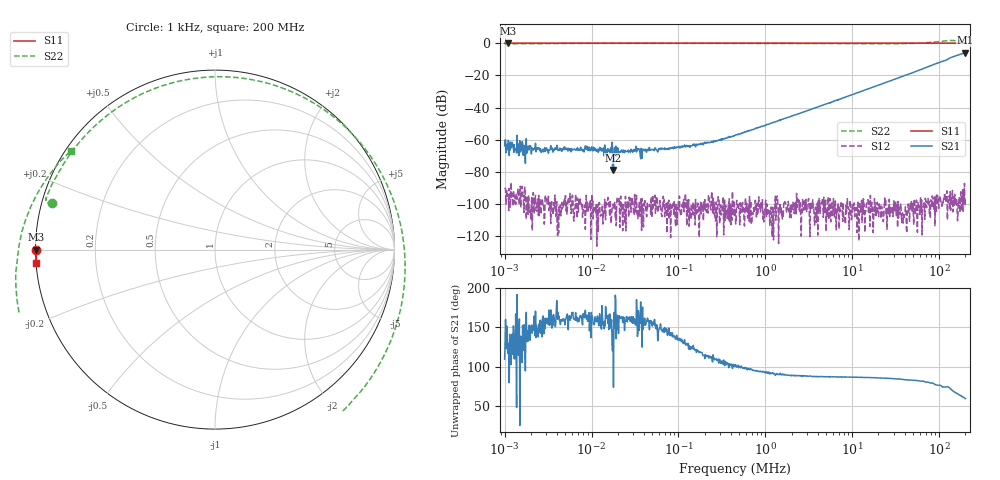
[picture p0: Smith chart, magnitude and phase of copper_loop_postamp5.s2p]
! ListType=Log
# MHZ S RI R 50
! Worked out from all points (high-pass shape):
!   1000 points, 1 kHz to 200 MHz, reference 50 ohm
!   highest |S21| = -5.89 dB at 200 MHz (marker M1); lowest = -78.7 dB at 17.88 kHz (marker M2)
!   |S21| within 3 dB of the highest: 137.1 MHz to end of sweep
!   lowest |S11| = 0.0 dB at 1.089 kHz (marker M3), VSWR 406.38, Z = 0.123 + j0.00596 ohm
!   |S11| at or under -10 dB: nowhere
!   |S22| runs from -0.5 to 1.7 dB; largest |S21 - S12| = 0.51
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0.001  -0.9962 -0.000673  -0.00022 0.000611  -1.15e-05 -2.99e-05  -0.9089 0.26
0.0010893  -0.9951 0.000237  -0.000249 0.000492  1.98e-05 -3.7e-06  -0.9111 0.2599
0.0017329  -0.9966 -0.0001  -1.61e-05 0.000186  -3.1e-06 1.34e-05  -0.9221 0.2574
0.0018648  -0.9967 -0.000702  -0.000449 0.000443  -2.8e-06 4e-06  -0.9239 0.2575
0.0076941  -0.9969 -1.61e-05  -0.00046 0.00015  -2.1e-06 8.4e-06  -0.9422 0.2759
0.0162123  -0.9967 -7.29e-05  -0.000441 0.000117  -4.1e-06 -5e-07  -0.9425 0.2823
0.017877  -0.9969 0.000139  3.17e-05 0.000111  -5.6e-06 4.2e-06  -0.9424 0.2829
0.0584804  -0.9969 -2.74e-05  -0.000367 0.00028  1.1e-06 -7.5e-06  -0.9406 0.2882
0.4499541  -0.9968 -0.000242  -0.000274 0.00136  1.8e-06 7.1e-06  -0.9349 0.303
3.419952  -0.9971 -0.0013  0.000332 0.009  -1.8e-06 -7.2e-06  -0.8867 0.4028
12.03851  -0.9975 -0.0046  0.00173 0.0302  -7.5e-06 -3e-07  -0.7122 0.6466
26.31347  -0.9979 -0.00955  0.00517 0.0648  3.6e-06 -3.5e-06  -0.3118 0.9064
38.43037  -0.9981 -0.0138  0.00992 0.0943  1.2e-06 -2.3e-06  0.0882 0.9611
50.9003  -0.9982 -0.0178  0.0153 0.1233  -1e-07 -2.3e-06  0.4925 0.8486
64.99008  -0.9979 -0.0227  0.0225 0.1584  6e-06 -3.9e-06  0.8567 0.5339
81.97236  -0.998 -0.0286  0.0368 0.2  5.3e-06 -7.1e-06  1.057 -0.0223
103.3922  -0.9977 -0.0361  0.0599 0.2524  -9.6e-06 -1.12e-05  0.8402 -0.7545
128.8255  -0.9952 -0.0463  0.0902 0.3189  -1.25e-05 -1.01e-05  0.0311 -1.195
145.5678  -0.9992 -0.0537  0.1361 0.3562  5.8e-06 -1.22e-05  -0.5687 -1.06
164.4859  -0.9987 -0.0596  0.1763 0.3864  4.6e-06 -3.3e-06  -1.028 -0.5582
179.1732  -0.9992 -0.065  0.2082 0.4135  -1.87e-05 -8.8e-06  -1.102 -0.0581
200  -0.9991 -0.0748  0.255 0.4388  -1.29e-05 -6.6e-06  -0.8026 0.5506
